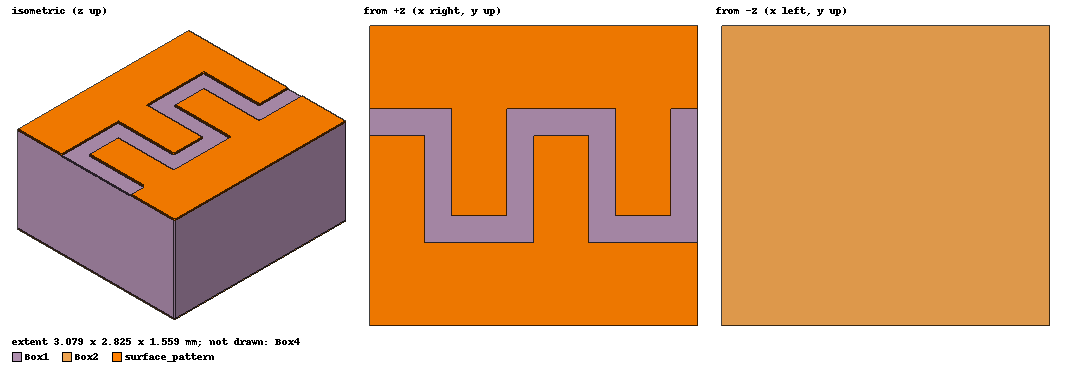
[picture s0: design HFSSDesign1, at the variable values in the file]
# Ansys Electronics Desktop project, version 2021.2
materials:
  vacuum: permittivity=1
  Arlon AD600 (tm): permittivity=6.15
  copper: permeability=0.999991 conductivity=58000000
  pec: conductivity=1e+30

design HFSSDesign1 (HFSS, DrivenModal, model units mm)
options: Allow_Material_Override
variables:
  length = 10mm
  depth = 1.524mm
  a = 28.25mm
  copp_t = 17.5um
  gap = 500um
  rad_bound = 20mm+depth+copp_t
  deembed = rad_bound-(depth+copp_t)
  mt = 10mil
  finger_depth = 1mm
  finger_width = 515.75um
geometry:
  Box1 [Arlon AD600 (tm)] = box(corner=(-a/20, -a/20, copp_t), size=(a/10+mt, a/10, depth))
  Box2 [pec] = box(corner=(-a/20, -a/20, 0), size=(a/10+mt, a/10, copp_t))
  top_sheet = box(corner=(-a/20, -a/20, copp_t+depth), size=(a/10+mt, a/10, copp_t))
  Box3 = box(corner=(-a/20, -(finger_depth+mt)/2, depth+copp_t), size=(a/10+mt, finger_depth+mt, copp_t))
  top_sheet.subtract(Box3)
  Box4 [vacuum] = box(corner=(-a/20, -a/20, 0mm), size=(a/10+mt, a/10, rad_bound))
  Box5 = box(corner=(-a/20, -(finger_depth+mt)/2, depth+copp_t), size=(finger_width, finger_depth, copp_t))
  Box6 = box(corner=((-a/20+finger_width+mt), -(finger_depth-mt)/2, depth+copp_t), size=(finger_width, finger_depth, copp_t))
  Box5.unite(Box6)
  surface_pattern [pec] = Box5.duplicate_along_line(step=((finger_width+mt)*2, 0mm, 0mm), total=2)
  surface_pattern.unite(Box5)
  surface_pattern.unite(top_sheet)
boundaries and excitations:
  PMC: Perfect H Faces=Box4.face(+x, -x)
  PEC: Perfect E Faces=Box4.face(+y, -y)
  1: Wave Port Faces=Box4.face(+z) NumModes=1 Modes{Mode1{IntLine{middle of Box4.edge(4 of 12) -> middle of Box4.edge(2 of 12)} CharImp=Zwave}}
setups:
  Setup1: HfssDriven Frequency=10GHz MaxDeltaS=0.005 MaximumPasses=25 MinimumPasses=4 MinimumConvergedPasses=2 PercentRefinement=20 BasisOrder=-1 PortAccuracy=2
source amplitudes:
  1:1: 1W 0deg
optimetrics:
  ParametricSetup1: Parametric Sim._Setups=[Setup1]
    sweep finger_depth: LIN 0.05mm 2mm 0.05mm
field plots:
  Mag_E1, Vector_E1: E Field in Box4 on Setup1 : LastAdaptive at Freq=10GHz Phase=0deg
  Mag_E2: E Field over Box4.face(+x) on Setup1 : LastAdaptive at Freq=10GHz Phase=0deg
  Vector_H1: H Field in Box4 on Setup1 : LastAdaptive at Freq=10GHz Phase=0deg
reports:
  Z Parameter Plot 1: re(Z(1,1)), im(Z(1,1)) vs Freq on Setup1 : LastAdaptive; markers m1 at 10GHz, m2 at 10GHz
  S Parameter Plot 1: re(S(1,1)), im(S(1,1)) vs Freq on Setup1 : LastAdaptive; markers m1 at 10GHz
  S Parameter Plot 2: re(S(1,1)), im(S(1,1)) vs Freq on Setup1 : LastAdaptive; markers m1 at 10GHz, m2 at 10GHz

design HFSSDesign2 (HFSS, DrivenModal, model units mm)
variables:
  a = 28.25mm
  antenna_width = 2*finger_width*num_fingers + 2*mt*(num_fingers-1)+mt
  copp_t = 17.5um
  depth = 1.524mm
  mt = 10mil
  num_cells = 8
  finger_width = 515.75um
  num_fingers = 19
  finger_depth1 = 1180um
  finger_depth2 = 1091um
  finger_depth3 = 878um
  finger_depth4 = 662um
  finger_depth5 = 456um
  finger_depth6 = 334um
  finger_depth7 = 456um
  finger_depth8 = 662um
  finger_depth9 = 878um
  finger_depth10 = 1091um
  end_length = 10um
  length = 39.4mm
  start_width = 87mil
  taper_length = 35mm
  end_width = antenna_width
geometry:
  Ground [pec] = box(corner=(0mm, -length, 0mm), size=(antenna_width, num_cells*a+2*length, copp_t))
  Box2 [Arlon AD600 (tm)] = box(corner=(0, -length, copp_t), size=(antenna_width, num_cells*a+2*length, depth))
  Box3 = box(corner=(0mm, 0mm, copp_t+depth), size=(antenna_width, a/20-(mt+finger_depth1)/2, copp_t))
  Box4 = box(corner=(0mm, a/10, copp_t+depth), size=(antenna_width, -(a/20-(mt+finger_depth1)/2), copp_t))
  Unit1 [pec] = box(corner=(0mm, a/20-(mt+finger_depth1)/2, depth+copp_t), size=(finger_width, finger_depth1, copp_t))
  Box6 = box(corner=(finger_width+mt, a/20-(-mt+finger_depth1)/2, copp_t+depth), size=(finger_width, finger_depth1, copp_t))
  Unit1.unite(Box6)
  Unit1.duplicate_along_line(step=(2*(finger_width+mt), 0mm, 0mm), total=num_fingers, attached)
  Unit1.unite(Box4, Box3)
  Unit2 = box(corner=(0mm, a/20-(mt+finger_depth2)/2, depth+copp_t), size=(finger_width, finger_depth2, copp_t))
  Box9 = box(corner=(finger_width+mt, a/20-(-mt+finger_depth2)/2, copp_t+depth), size=(finger_width, finger_depth2, copp_t))
  Unit2.unite(Box9)
  Unit2.duplicate_along_line(step=(2*(finger_width+mt), 0mm, 0mm), total=num_fingers, attached)
  Box8 = box(corner=(0mm, a/10, copp_t+depth), size=(antenna_width, -(a/20-(mt+finger_depth2)/2), copp_t))
  Box7 = box(corner=(0mm, 0mm, copp_t+depth), size=(antenna_width, a/20-(mt+finger_depth2)/2, copp_t))
  Unit2.unite(Box8, Box7)
  Unit2.move(0mm, a/10, 0mm)
  Unit3 = box(corner=(0mm, a/20-(mt+finger_depth3)/2, depth+copp_t), size=(finger_width, finger_depth3, copp_t))
  Box12 = box(corner=(finger_width+mt, a/20-(-mt+finger_depth3)/2, copp_t+depth), size=(finger_width, finger_depth3, copp_t))
  Unit3.unite(Box12)
  Unit3.duplicate_along_line(step=(2*(finger_width+mt), 0mm, 0mm), total=num_fingers, attached)
  Box11 = box(corner=(0mm, a/10, copp_t+depth), size=(antenna_width, -(a/20-(mt+finger_depth3)/2), copp_t))
  Box10 = box(corner=(0mm, 0mm, copp_t+depth), size=(antenna_width, a/20-(mt+finger_depth3)/2, copp_t))
  Unit3.unite(Box11, Box10)
  Unit3.move(0mm, 2*a/10, 0mm)
  Unit4 = box(corner=(0mm, a/20-(mt+finger_depth4)/2, depth+copp_t), size=(finger_width, finger_depth4, copp_t))
  Box15 = box(corner=(finger_width+mt, a/20-(-mt+finger_depth4)/2, copp_t+depth), size=(finger_width, finger_depth4, copp_t))
  Unit4.unite(Box15)
  Unit4.duplicate_along_line(step=(2*(finger_width+mt), 0mm, 0mm), total=num_fingers, attached)
  Box14 = box(corner=(0mm, a/10, copp_t+depth), size=(antenna_width, -(a/20-(mt+finger_depth4)/2), copp_t))
  Box13 = box(corner=(0mm, 0mm, copp_t+depth), size=(antenna_width, a/20-(mt+finger_depth4)/2, copp_t))
  Unit4.unite(Box14, Box13)
  Unit4.move(0mm, 3*a/10, 0mm)
  Unit5 = box(corner=(0mm, a/20-(mt+finger_depth5)/2, depth+copp_t), size=(finger_width, finger_depth5, copp_t))
  Box18 = box(corner=(finger_width+mt, a/20-(-mt+finger_depth5)/2, copp_t+depth), size=(finger_width, finger_depth5, copp_t))
  Unit5.unite(Box18)
  Unit5.duplicate_along_line(step=(2*(finger_width+mt), 0mm, 0mm), total=num_fingers, attached)
  Box17 = box(corner=(0mm, a/10, copp_t+depth), size=(antenna_width, -(a/20-(mt+finger_depth5)/2), copp_t))
  Box16 = box(corner=(0mm, 0mm, copp_t+depth), size=(antenna_width, a/20-(mt+finger_depth5)/2, copp_t))
  Unit5.unite(Box17, Box16)
  Unit5.move(0mm, 4*a/10, 0mm)
  Unit6 = box(corner=(0mm, a/20-(mt+finger_depth6)/2, depth+copp_t), size=(finger_width, finger_depth6, copp_t))
  Box21 = box(corner=(finger_width+mt, a/20-(-mt+finger_depth6)/2, copp_t+depth), size=(finger_width, finger_depth6, copp_t))
  Unit6.unite(Box21)
  Unit6.duplicate_along_line(step=(2*(finger_width+mt), 0mm, 0mm), total=num_fingers, attached)
  Box20 = box(corner=(0mm, a/10, copp_t+depth), size=(antenna_width, -(a/20-(mt+finger_depth6)/2), copp_t))
  Box19 = box(corner=(0mm, 0mm, copp_t+depth), size=(antenna_width, a/20-(mt+finger_depth6)/2, copp_t))
  Unit6.unite(Box20, Box19)
  Unit6.move(0mm, 5*a/10, 0mm)
  Unit7 = box(corner=(0mm, a/20-(mt+finger_depth7)/2, depth+copp_t), size=(finger_width, finger_depth7, copp_t))
  Box24 = box(corner=(finger_width+mt, a/20-(-mt+finger_depth7)/2, copp_t+depth), size=(finger_width, finger_depth7, copp_t))
  Unit7.unite(Box24)
  Unit7.duplicate_along_line(step=(2*(finger_width+mt), 0mm, 0mm), total=num_fingers, attached)
  Box23 = box(corner=(0mm, a/10, copp_t+depth), size=(antenna_width, -(a/20-(mt+finger_depth7)/2), copp_t))
  Box22 = box(corner=(0mm, 0mm, copp_t+depth), size=(antenna_width, a/20-(mt+finger_depth7)/2, copp_t))
  Unit7.unite(Box23, Box22)
  Unit7.move(0mm, 6*a/10, 0mm)
  Unit8 = box(corner=(0mm, a/20-(mt+finger_depth8)/2, depth+copp_t), size=(finger_width, finger_depth8, copp_t))
  Box27 = box(corner=(finger_width+mt, a/20-(-mt+finger_depth8)/2, copp_t+depth), size=(finger_width, finger_depth8, copp_t))
  Unit8.unite(Box27)
  Unit8.duplicate_along_line(step=(2*(finger_width+mt), 0mm, 0mm), total=num_fingers, attached)
  Box26 = box(corner=(0mm, a/10, copp_t+depth), size=(antenna_width, -(a/20-(mt+finger_depth8)/2), copp_t))
  Box25 = box(corner=(0mm, 0mm, copp_t+depth), size=(antenna_width, a/20-(mt+finger_depth8)/2, copp_t))
  Unit8.unite(Box26, Box25)
  Unit8.move(0mm, 7*a/10, 0mm)
  Unit9 = box(corner=(0mm, a/20-(mt+finger_depth9)/2, depth+copp_t), size=(finger_width, finger_depth9, copp_t))
  Box30 = box(corner=(finger_width+mt, a/20-(-mt+finger_depth9)/2, copp_t+depth), size=(finger_width, finger_depth9, copp_t))
  Unit9.unite(Box30)
  Unit9.duplicate_along_line(step=(2*(finger_width+mt), 0mm, 0mm), total=num_fingers, attached)
  Box29 = box(corner=(0mm, a/10, copp_t+depth), size=(antenna_width, -(a/20-(mt+finger_depth9)/2), copp_t))
  Box28 = box(corner=(0mm, 0mm, copp_t+depth), size=(antenna_width, a/20-(mt+finger_depth9)/2, copp_t))
  Unit9.unite(Box29, Box28)
  Unit9.move(0mm, 8*a/10, 0mm)
  Unit10 = box(corner=(0mm, a/20-(mt+finger_depth10)/2, depth+copp_t), size=(finger_width, finger_depth10, copp_t))
  Box33 = box(corner=(finger_width+mt, a/20-(-mt+finger_depth10)/2, copp_t+depth), size=(finger_width, finger_depth10, copp_t))
  Unit10.unite(Box33)
  Unit10.duplicate_along_line(step=(2*(finger_width+mt), 0mm, 0mm), total=num_fingers, attached)
  Box32 = box(corner=(0mm, a/10, copp_t+depth), size=(antenna_width, -(a/20-(mt+finger_depth10)/2), copp_t))
  Box31 = box(corner=(0mm, 0mm, copp_t+depth), size=(antenna_width, a/20-(mt+finger_depth10)/2, copp_t))
  Unit10.unite(Box32, Box31)
  Unit10.move(0mm, 9*a/10, 0mm)
  Unit1.unite(Unit2..Unit10)
  Unit1_1..Unit1_7 = Unit1.duplicate_along_line(step=(0mm, a, 0mm), total=8)
  Unit1.unite(Unit1_1..Unit1_7)
  Taper = box(corner=(-end_width/2, length-end_length, depth+copp_t), size=(end_width, end_length, copp_t))
  Box34 = box(corner=(-start_width/2, 0mm, copp_t+depth), size=(start_width, length-taper_length-end_length, copp_t))
  EquationSurface1 = equation_based_surface(XuvFunction=start_width/2*_v+_v*_u^3*(end_width-start_width)/2 YuvFunction=(length-taper_length-end_length)+_u*taper_length ZuvFunction=copp_t+depth uStart=0 uEnd=1 vStart=-1 vEnd=1)
  EquationSurface1.sweep_along_vector((0mm, 0mm, copp_t))
  Box34.unite(EquationSurface1)
  Taper.unite(Box34)
  Taper.move(antenna_width/2, -length, 0)
  Taper_1 = Taper.duplicate_around_axis(axis=Z, angle=180deg, total=2)
  Taper_1.move(antenna_width, num_cells*a, 0)
  Unit1.unite(Taper_1, Taper)
  Box35 [vacuum] = box(corner=(0mm, -length, 0), size=(antenna_width, 2*length+num_cells*a, 8*depth))
  Rectangle1 = rectangle(corner=(antenna_width/2-2.5*start_width, 0, -length), x_size=5*start_width, y_size=-3*depth)
  Rectangle1.rotate(axis=X, angle=-90deg)
  Rectangle1_1 = Rectangle1.duplicate_along_line(step=(0mm, 2*length+num_cells*a, 0mm), total=2)
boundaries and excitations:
  Rad1: Radiation Faces=Box35.face(+y)
  PerfH1: Perfect H Faces=Box35.face(+x)
  PerfH2: Perfect H Faces=Box35.face(-x)
  Rad2: Radiation Faces=Box35.face(-y)
  FE-BI1: FE-BI Faces=Box35.face(+z) UseAdaptiveIE
  1: Wave Port Objects=Rectangle1 NumModes=1 Modes{Mode1{IntLine{middle of Box2.edge(6 of 12) -> middle of Rectangle1.edge(3 of 4)} CharImp=Zpi}}
  2: Wave Port Objects=Rectangle1_1 NumModes=1 Modes{Mode1{IntLine{middle of Rectangle1_1.edge(1 of 4) -> middle of Rectangle1_1.edge(3 of 4)} CharImp=Zpi}}
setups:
  Setup1: HfssDriven Frequency=10GHz MaxDeltaS=0.03 MaximumPasses=20 MinimumPasses=1 MinimumConvergedPasses=1 PercentRefinement=15 BasisOrder=1 PortAccuracy=2 UseDomains DDMSolverResidual=0.0001
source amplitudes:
  1:1: 1W 0deg
  2:1: 0W 0deg

design HFSSDesign3 (HFSS, DrivenModal, model units mm)
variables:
  copp_t = 17.5um
  depth = 60mil
  start_width = 87mil
  length = 55mm
  taper_length = 35mm
  end_width = 30mm
  end_length = 10mm
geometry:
  Box1 [pec] = box(corner=(-2.5*end_width, 0mm, 0mm), size=(5*end_width, length, copp_t))
  Box2 [Arlon AD600 (tm)] = box(corner=(-2.5*end_width, 0mm, copp_t), size=(5*end_width, length, depth))
  Box3 = box(corner=(-start_width/2, 0mm, copp_t+depth), size=(start_width, length-taper_length-end_length, copp_t))
  EquationSurface1 = equation_based_surface(XuvFunction=start_width/2*_v+_v*_u^3*(end_width-start_width)/2 YuvFunction=(length-taper_length-end_length)+_u*taper_length ZuvFunction=copp_t+depth uStart=0 uEnd=1 vStart=-1 vEnd=1)
  EquationSurface1.sweep_along_vector((0mm, 0mm, copp_t))
  Box3.unite(EquationSurface1)
  Box4 [vacuum] = box(corner=(-2.5*end_width, 0mm, 0mm), size=(5*end_width, length, depth*5))
  Rectangle1 = rectangle(corner=(-2.5*start_width, 0mm, 0mm), x_size=5*start_width, y_size=3*depth)
  Rectangle1.rotate(axis=X, angle=90deg)
  Box5 [pec] = box(corner=(-end_width/2, length-end_length, depth+copp_t), size=(end_width, end_length, copp_t))
  Box5.unite(Box3)
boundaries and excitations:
  Rad1: Radiation Objects=Box4
  2: Wave Port Faces=Box4.face(+y) NumModes=1 Modes{Mode1{IntLine{middle of Box4.edge(8 of 12) -> middle of Box4.edge(2 of 12)} CharImp=Zpi}}
  1: Wave Port Objects=Rectangle1 NumModes=1 Modes{Mode1{IntLine{middle of Box2.edge(6 of 12) -> middle of Rectangle1.edge(3 of 4)} CharImp=Zpi}}
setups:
  Setup1: HfssDriven Frequency=10GHz MaxDeltaS=0.02 MaximumPasses=20 MinimumPasses=1 MinimumConvergedPasses=2 PercentRefinement=15 BasisOrder=1 PortAccuracy=2
    sweep Sweep: 7GHz to 13GHz, 401 points; Type=Interpolating InterpTolerance=0.5 InterpMaxSolns=250 InterpUsePortImped=false PassivityErrorTolerance=0.0001
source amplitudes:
  2:1: 1W 0deg
  1:1: 0W 0deg
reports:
  S Parameter Plot 1: dB(S(1,1)), dB(S(2,1)), dB(S(2,2)) vs Freq on Setup1 : Sweep
